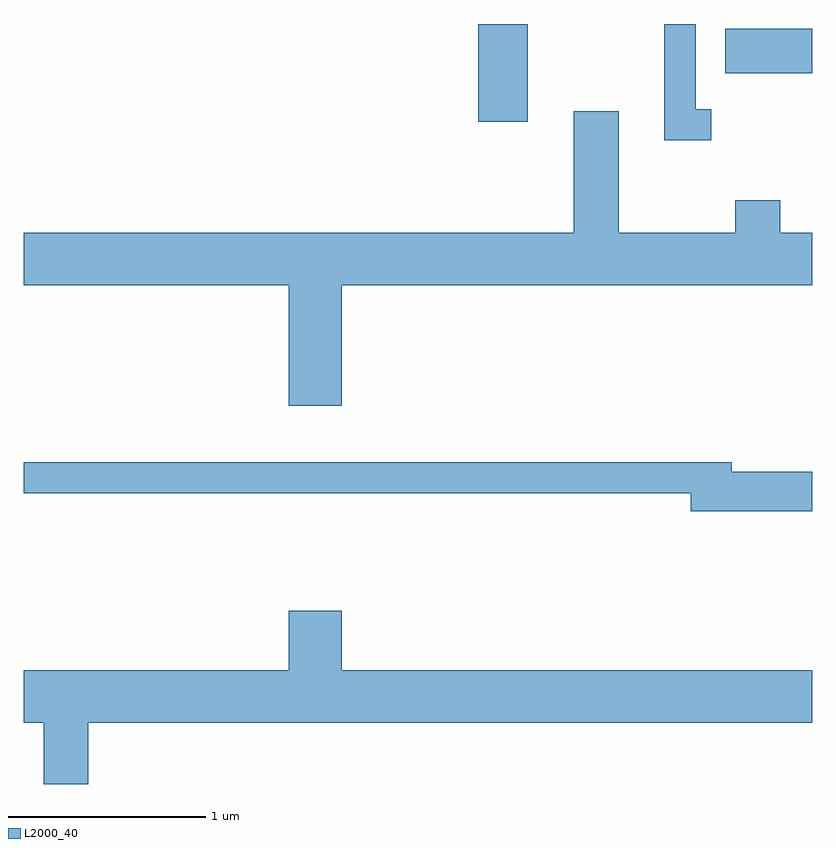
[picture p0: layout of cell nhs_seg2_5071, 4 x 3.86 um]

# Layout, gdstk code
import gdstk
lib = gdstk.Library(unit=1e-6, precision=1e-09)
def R(c, l, rs):  # rectangles x0, y0, x1, y1
    for r in rs: c.add(gdstk.rectangle(r[:2], r[2:], *l))
def P(c, l, *ps):  # polygons
    for p in ps: c.add(gdstk.Polygon(p, *l))
L2000_40 = (2000, 40)

nhs_seg2_5071 = lib.new_cell('nhs_seg2_5071')
R(nhs_seg2_5071, L2000_40, [(335.916,1111.306,336.169,1111.802), (337.171,1111.551,337.611,1111.779)])
P(nhs_seg2_5071, L2000_40, [(337.098,1111.369),(337.019,1111.369),(337.019,1111.802),(336.861,1111.802),(336.861,1111.211),(337.098,1111.211)],
  [(335.224,1110.476),(337.611,1110.476),(337.611,1110.744),(337.449,1110.744),(337.449,1110.909),(337.221,1110.909),(337.221,1110.744),(336.629,1110.744),(336.629,1111.359),(336.401,1111.359),(336.401,1110.744),(333.611,1110.744),(333.611,1110.476),(334.956,1110.476),(334.956,1109.866),(335.224,1109.866)],
  [(337.611,1109.529),(337.204,1109.529),(337.204,1109.579),(333.611,1109.579),(333.611,1109.421),(336.996,1109.421),(336.996,1109.331),(337.611,1109.331)],
  [(333.939,1108.256),(337.611,1108.256),(337.611,1108.524),(335.224,1108.524),(335.224,1108.824),(334.956,1108.824),(334.956,1108.524),(333.611,1108.524),(333.611,1108.256),(333.711,1108.256),(333.711,1107.946),(333.939,1107.946)])

lib.write_gds('nhs_seg2_5071.gds')
